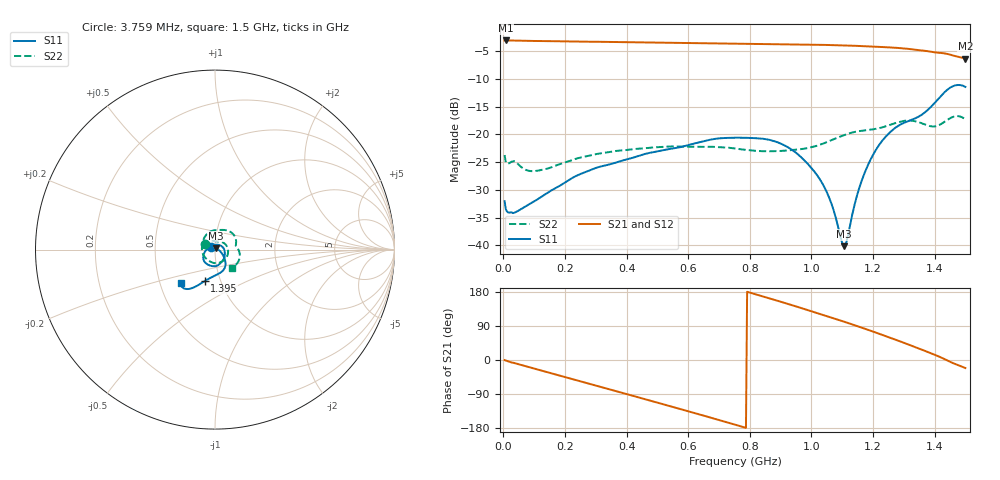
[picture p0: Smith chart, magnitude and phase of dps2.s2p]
! ZVRE, 3.52
! symbol freq-unit parameter-type data-format keyword impedance-ohm
#  HZ  S  RI  R  50
! freq  reS11  imS11  reS21  imS21  reS12  imS12  reS22  imS22
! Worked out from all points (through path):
!   400 points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, 3.759 MHz to 1.5 GHz, reference 50 ohm
!   highest |S21| = -3.11 dB at 7.509 MHz (marker M1); lowest = -6.4 dB at 1.5 GHz (marker M2)
!   group delay of S21, straight-line fit = 685 ps
!   lowest |S11| = -40.1 dB at 1.106 GHz (marker M3), VSWR 1.02, Z = 50.4 + j0.919 ohm
!   |S11| at or under -10 dB: start of sweep to end of sweep
!   |S22| runs from -26.6 to -16.7 dB; largest |S21 - S12| = 0.011
!   S11 on the Smith chart (normalised r, x): 3.759 MHz: 0.96, +0.02; 1.395 GHz: 0.84, -0.31; 1.5 GHz: 0.64, -0.26
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3758978  -0.0216 0.0125  0.6991 -0.00347  0.6982 -0.0031  -0.0563 0.0325
7508955  -0.0191 0.00926  0.6991 -0.0171  0.6979 -0.0171  -0.0511 0.023
3.37588e7  -0.0147 0.0129  0.6913 -0.0924  0.6901 -0.093  -0.0391 0.0419
1.012584e8  -4.21e-05 0.025  0.6377 -0.2692  0.6358 -0.2699  0.00754 0.046
2.550075e8  0.0421 0.0143  0.3678 -0.5751  0.3678 -0.5755  0.0507 0.0359
3.750068e8  0.0546 -0.0157  0.0676 -0.6736  0.0667 -0.6732  0.0709 0.00711
5.02506e8  0.0502 -0.0494  -0.2627 -0.6159  -0.2634 -0.6158  0.0692 -0.0329
6.412552e8  0.0227 -0.0825  -0.54 -0.381  -0.542 -0.3808  0.0357 -0.0683
7.537545e8  -0.0167 -0.0916  -0.6471 -0.1025  -0.6481 -0.1005  -0.0102 -0.0737
8.925036e8  -0.0643 -0.0543  -0.5896 0.2665  -0.5897 0.2677  -0.0619 -0.034
1.001253e9  -0.0492 -0.00205  -0.3985 0.5013  -0.3984 0.5017  -0.0714 0.0278
1.057503e9  -0.0238 0.0126  -0.2586 0.5813  -0.2577 0.5812  -0.0624 0.0602
1.106252e9  0.00367 0.00912  -0.1211 0.6193  -0.1203 0.6188  -0.0429 0.0884
1.113752e9  0.00807 0.00701  -0.0989 0.622  -0.0982 0.6218  -0.0387 0.0922
1.147502e9  0.0268 -0.0073  0.00256 0.6252  0.00288 0.6247  -0.0163 0.1046
1.173752e9  0.0395 -0.0228  0.081 0.6149  0.0804 0.6151  0.00126 0.1083
1.211252e9  0.0534 -0.0509  0.1915 0.5831  0.1914 0.5828  0.0243 0.1095
1.252501e9  0.0586 -0.0841  0.3049 0.5231  0.3026 0.5243  0.0513 0.1095
1.316251e9  0.0302 -0.1283  0.446 0.3811  0.4467 0.3819  0.1044 0.0827
1.395001e9  -0.0579 -0.1755  0.5296 0.1466  0.5385 0.1522  0.1155 0.0217
1.45125e9  -0.1465 -0.2195  0.5184 -0.0471  0.525 -0.0403  0.1378 -0.024
1.5e9  -0.1896 -0.1878  0.4479 -0.1737  0.4398 -0.1775  0.092 -0.1005
